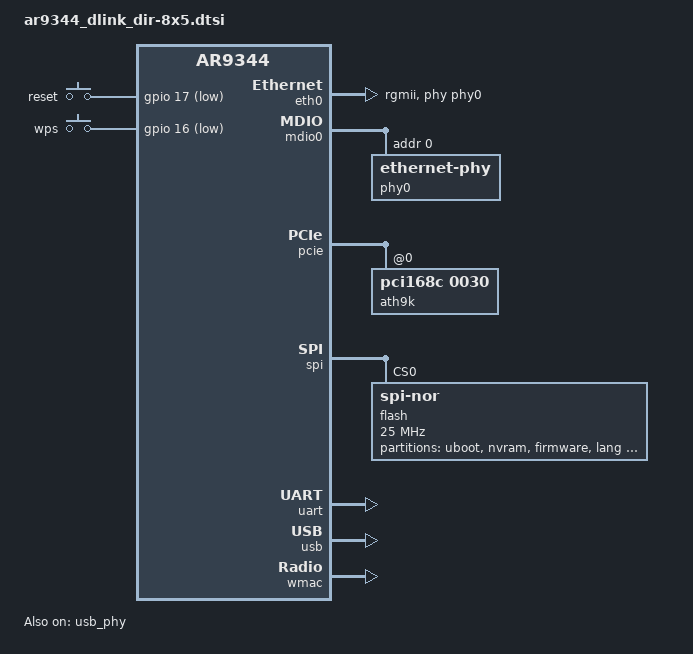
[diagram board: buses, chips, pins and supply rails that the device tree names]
// SPDX-License-Identifier: GPL-2.0-or-later OR MIT
/dts-v1/;

#include <dt-bindings/gpio/gpio.h>
#include <dt-bindings/input/input.h>

#include "ar9344.dtsi"

/ {
	chosen {
		bootargs = "console=ttyS0,115200";
	};

	keys {
		compatible = "gpio-keys";

		reset {
			linux,code = <KEY_RESTART>;
			gpios = <&gpio 17 GPIO_ACTIVE_LOW>;
			debounce-interval = <60>;
		};

		wps {
			linux,code = <KEY_WPS_BUTTON>;
			gpios = <&gpio 16 GPIO_ACTIVE_LOW>;
			debounce-interval = <60>;
		};
	};
};

&eth0 {
	status = "okay";

	/* default for ar934x, except for 1000M */
	pll-data = <0x06000000 0x00000101 0x00001616>;

	phy-mode = "rgmii";
	phy-handle = <&phy0>;
};

&mdio0 {
	status = "okay";

	phy-mask = <0>;

	phy0: ethernet-phy@0 {
		reg = <0>;
		qca,ar8327-initvals = <
			/* GPL code drop (bsp.h & athrs17_phy.c) */
			0x10 0xc1000000 /* PWS_REG_VALUE */
			0x04 0x07600000 /* PORT0 PAD Mode */
			0x0c 0x01000000 /* PORT6 PAD Mode */
			0x7c 0x0000007e /* PORT0_STATUS */
			0x94 0x0000007e /* PORT6_STATUS */
		>;
	};
};

&pcie {
	status = "okay";

	ath9k: wifi@0,0 {
		compatible = "pci168c,0030";
		reg = <0x0000 0 0 0 0>;
		qca,no-eeprom;
		gpio-controller;
		#gpio-cells = <2>;
	};
};

&ref {
	clock-frequency = <40000000>;
};

&spi {
	status = "okay";
	num-cs = <1>;

	flash@0 {
		compatible = "jedec,spi-nor";
		reg = <0>;
		spi-max-frequency = <25000000>;

		partitions {
			compatible = "fixed-partitions";
			#address-cells = <1>;
			#size-cells = <1>;

			partition@0 {
				label = "uboot";
				reg = <0x000000 0x010000>;
				read-only;
			};

			partition@10000 {
				label = "nvram";
				reg = <0x010000 0x010000>;
				read-only;
			};

			partition@20000 {
				label = "firmware";
				reg = <0x020000 0xF90000>;
				compatible = "denx,uimage";
			};

			partition@fb0000 {
				label = "lang";
				reg = <0xfb0000 0x030000>;
				read-only;
			};

			partition@fe0000 {
				label = "mac";
				reg = <0xfe0000 0x010000>;
				read-only;
			};

			partition@ff0000 {
				label = "art";
				reg = <0xff0000 0x010000>;
				read-only;
			};
		};
	};
};

&uart {
	status = "okay";
};

&usb {
	status = "okay";
	#address-cells = <1>;
	#size-cells = <0>;

	hub_port1: port@1 {
		reg = <1>;
		#trigger-source-cells = <0>;
	};
};

&usb_phy {
	status = "okay";
};

&wmac {
	status = "okay";
	qca,no-eeprom;
};

